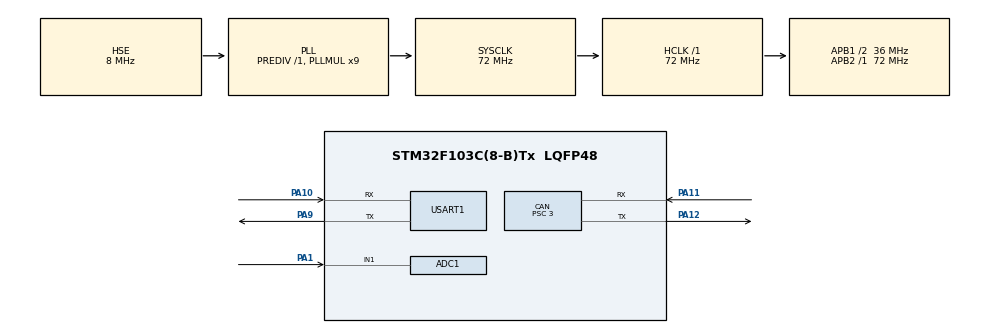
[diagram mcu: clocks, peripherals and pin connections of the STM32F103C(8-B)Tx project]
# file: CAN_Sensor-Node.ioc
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ADC1.Channel-4\#ChannelRegularConversion=ADC_CHANNEL_1
ADC1.ContinuousConvMode=ENABLE
ADC1.NbrOfConversionFlag=1
ADC1.Rank-4\#ChannelRegularConversion=1
ADC1.SamplingTime-4\#ChannelRegularConversion=ADC_SAMPLETIME_1CYCLE_5
ADC1.master=1
CAN.BS1=CAN_BS1_12TQ
CAN.BS2=CAN_BS2_2TQ
CAN.CalculateTimeBit=1250
CAN.CalculateTimeQuantum=83.33333333333334
CAN.NART=ENABLE
CAN.Prescaler=3
Mcu.Family=STM32F1
Mcu.Name=STM32F103C(8-B)Tx
Mcu.Package=LQFP48
NVIC.PriorityGroup=NVIC_PRIORITYGROUP_4
PA1.Signal=ADCx_IN1
PA10.Mode=Asynchronous
PA10.Signal=USART1_RX
PA11.Mode=Master
PA11.Signal=CAN_RX
PA12.Mode=Master
PA12.Signal=CAN_TX
PA13.Mode=Serial_Wire
PA13.Signal=SYS_JTMS-SWDIO
PA14.Mode=Serial_Wire
PA14.Signal=SYS_JTCK-SWCLK
PA9.Mode=Asynchronous
PA9.Signal=USART1_TX
PD0-OSC_IN.Mode=HSE-External-Oscillator
PD0-OSC_IN.Signal=RCC_OSC_IN
PD1-OSC_OUT.Mode=HSE-External-Oscillator
PD1-OSC_OUT.Signal=RCC_OSC_OUT
ProjectManager.HeapSize=0x200
ProjectManager.StackSize=0x400
ProjectManager.TargetToolchain=MDK-ARM V5.27
RCC.ADCPresc=RCC_ADCPCLK2_DIV6
RCC.AHBFreq_Value=72000000
RCC.APB1CLKDivider=RCC_HCLK_DIV2
RCC.APB1Freq_Value=36000000
RCC.APB1TimFreq_Value=72000000
RCC.APB2Freq_Value=72000000
RCC.APB2TimFreq_Value=72000000
RCC.HCLKFreq_Value=72000000
RCC.PLLMUL=RCC_PLL_MUL9
RCC.PLLSourceVirtual=RCC_PLLSOURCE_HSE
RCC.SYSCLKFreq_VALUE=72000000
RCC.SYSCLKSource=RCC_SYSCLKSOURCE_PLLCLK
RCC.USBFreq_Value=72000000
SH.ADCx_IN1.0=ADC1_IN1,IN1
USART1.VirtualMode=VM_ASYNC
board=custom

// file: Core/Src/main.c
/* USER CODE BEGIN Header */
/**
  ******************************************************************************
  * @file           : main.c
  * @brief          : Main program body
  ******************************************************************************
  * @attention
  *
  * <h2><center>&copy; Copyright (c) 2025 STMicroelectronics.
  * All rights reserved.</center></h2>
  *
  * This software component is licensed by ST under BSD 3-Clause license,
  * the "License"; You may not use this file except in compliance with the
  * License. You may obtain a copy of the License at:
  *                        opensource.org/licenses/BSD-3-Clause
  *
  ******************************************************************************
  */
/* USER CODE END Header */
#include "main.h"

/* USER CODE BEGIN Includes */
#include <stdio.h>
#include <string.h>
/* USER CODE END Includes */

ADC_HandleTypeDef hadc1;

CAN_HandleTypeDef hcan;

UART_HandleTypeDef huart1;

/* USER CODE BEGIN PV */
CAN_TxHeaderTypeDef TxHeader;
uint8_t TxData[8];
uint32_t TxMailbox;
/* USER CODE END PV */

void SystemClock_Config(void);
static void MX_GPIO_Init(void);
static void MX_ADC1_Init(void);
static void MX_CAN_Init(void);
static void MX_USART1_UART_Init(void);

/* USER CODE BEGIN 0 */

/* Function to convert ADC value (0-4095) to angle (0-180 degrees) */
float ADC_To_Angle(uint16_t adc_value)
{
	return (adc_value / 4095.0f) * 180.0f;
}

/* Function to transmit sensor data via CAN */
void TransmitSensorData(void)
{
	uint16_t adc_val = HAL_ADC_GetValue(&hadc1);

	// Convert ADC value to angle (0-180)
	float angle = ADC_To_Angle(adc_val);
	uint16_t angle_int = (uint16_t)angle;  // Get integer value (degrees)

	// Pack angle value into 2 bytes
	TxData[0] = (angle_int >> 8) & 0xFF;
	TxData[1] = angle_int & 0xFF;
	// The remaining bytes can hold the value 0 or additional information
	for (int i = 2; i < 8; i++) {
			TxData[i] = 0;
	}

	// Configure CAN header with ID 0x002
	TxHeader.StdId = 0x002;
	TxHeader.IDE   = CAN_ID_STD;
	TxHeader.RTR   = CAN_RTR_DATA;
	TxHeader.DLC   = 8;  // Data length 8 bytes

	// Send CAN message
	if (HAL_CAN_AddTxMessage(&hcan, &TxHeader, TxData, &TxMailbox) != HAL_OK)
	{
			 char errorMsg[] = "CAN Transmit Error\r\n";
			 HAL_UART_Transmit(&huart1, (uint8_t*)errorMsg, strlen(errorMsg), HAL_MAX_DELAY);
	}
	else
	{
			 char msg[64];
			 sprintf(msg, "Sensor Data: ADC=%d, Angle=%d\r\n", adc_val, angle_int);
			 HAL_UART_Transmit(&huart1, (uint8_t*)msg, strlen(msg), HAL_MAX_DELAY);
	}
}

// CAN filter configuration
static void CAN_FilterConfig_Sensor(void)
{
    CAN_FilterTypeDef sFilterConfig;

    sFilterConfig.FilterBank = 0;  // Select filter bank 0
    sFilterConfig.FilterMode = CAN_FILTERMODE_IDMASK;
    sFilterConfig.FilterScale = CAN_FILTERSCALE_32BIT;

    /* Mask-style configuration: when mask = 0 then all bits are 'don't care'
		=> accept all messages */
    sFilterConfig.FilterIdHigh = 0x0000;
    sFilterConfig.FilterIdLow = 0x0000;
    sFilterConfig.FilterMaskIdHigh = 0x0000;
    sFilterConfig.FilterMaskIdLow = 0x0000;

    sFilterConfig.FilterFIFOAssignment = CAN_RX_FIFO0;
    sFilterConfig.FilterActivation = ENABLE;
    sFilterConfig.SlaveStartFilterBank = 14;

    if (HAL_CAN_ConfigFilter(&hcan, &sFilterConfig) != HAL_OK)
    {
         /* Error handling if filter configuration fails */
         Error_Handler();
    }
}

/* USER CODE END 0 */

int main(void)
{

  /* MCU Configuration--------------------------------------------------------*/

  /* Reset of all peripherals, Initializes the Flash interface and the Systick. */
  HAL_Init();

  /* Configure the system clock */
  SystemClock_Config();

  /* Initialize all configured peripherals */
  MX_GPIO_Init();
  MX_ADC1_Init();
  MX_CAN_Init();
  MX_USART1_UART_Init();
  /* USER CODE BEGIN 2 */

	// Configure CAN filter for Sensor Node
	CAN_FilterConfig_Sensor();

	// Start ADC conversion
	HAL_ADC_Start(&hadc1);

	// CAN start
	HAL_CAN_Start(&hcan);

  /* USER CODE END 2 */

  /* Infinite loop */
  while (1)
  {

    /* USER CODE BEGIN 3 */

		// Use polling mode to get ADC value
		if (HAL_ADC_PollForConversion(&hadc1, 10) == HAL_OK)
		{
			TransmitSensorData();
		}
		HAL_Delay(1000);	// Send data every 1 second
  }
  /* USER CODE END 3 */
}

void SystemClock_Config(void)
{
  RCC_OscInitTypeDef RCC_OscInitStruct = {0};
  RCC_ClkInitTypeDef RCC_ClkInitStruct = {0};
  RCC_PeriphCLKInitTypeDef PeriphClkInit = {0};

  /** Initializes the RCC Oscillators according to the specified parameters
  * in the RCC_OscInitTypeDef structure.
  */
  RCC_OscInitStruct.OscillatorType = RCC_OSCILLATORTYPE_HSE;
  RCC_OscInitStruct.HSEState = RCC_HSE_ON;
  RCC_OscInitStruct.HSEPredivValue = RCC_HSE_PREDIV_DIV1;
  RCC_OscInitStruct.HSIState = RCC_HSI_ON;
  RCC_OscInitStruct.PLL.PLLState = RCC_PLL_ON;
  RCC_OscInitStruct.PLL.PLLSource = RCC_PLLSOURCE_HSE;
  RCC_OscInitStruct.PLL.PLLMUL = RCC_PLL_MUL9;
  if (HAL_RCC_OscConfig(&RCC_OscInitStruct) != HAL_OK)
  {
    Error_Handler();
  }
  /** Initializes the CPU, AHB and APB buses clocks
  */
  RCC_ClkInitStruct.ClockType = RCC_CLOCKTYPE_HCLK|RCC_CLOCKTYPE_SYSCLK
                              |RCC_CLOCKTYPE_PCLK1|RCC_CLOCKTYPE_PCLK2;
  RCC_ClkInitStruct.SYSCLKSource = RCC_SYSCLKSOURCE_PLLCLK;
  RCC_ClkInitStruct.AHBCLKDivider = RCC_SYSCLK_DIV1;
  RCC_ClkInitStruct.APB1CLKDivider = RCC_HCLK_DIV2;
  RCC_ClkInitStruct.APB2CLKDivider = RCC_HCLK_DIV1;

  if (HAL_RCC_ClockConfig(&RCC_ClkInitStruct, FLASH_LATENCY_2) != HAL_OK)
  {
    Error_Handler();
  }
  PeriphClkInit.PeriphClockSelection = RCC_PERIPHCLK_ADC;
  PeriphClkInit.AdcClockSelection = RCC_ADCPCLK2_DIV6;
  if (HAL_RCCEx_PeriphCLKConfig(&PeriphClkInit) != HAL_OK)
  {
    Error_Handler();
  }
}

static void MX_ADC1_Init(void)
{

  ADC_ChannelConfTypeDef sConfig = {0};

  /** Common config
  */
  hadc1.Instance = ADC1;
  hadc1.Init.ScanConvMode = ADC_SCAN_DISABLE;
  hadc1.Init.ContinuousConvMode = ENABLE;
  hadc1.Init.DiscontinuousConvMode = DISABLE;
  hadc1.Init.ExternalTrigConv = ADC_SOFTWARE_START;
  hadc1.Init.DataAlign = ADC_DATAALIGN_RIGHT;
  hadc1.Init.NbrOfConversion = 1;
  if (HAL_ADC_Init(&hadc1) != HAL_OK)
  {
    Error_Handler();
  }
  /** Configure Regular Channel
  */
  sConfig.Channel = ADC_CHANNEL_1;
  sConfig.Rank = ADC_REGULAR_RANK_1;
  sConfig.SamplingTime = ADC_SAMPLETIME_1CYCLE_5;
  if (HAL_ADC_ConfigChannel(&hadc1, &sConfig) != HAL_OK)
  {
    Error_Handler();
  }

}

static void MX_CAN_Init(void)
{

  hcan.Instance = CAN1;
  hcan.Init.Prescaler = 3;
  hcan.Init.Mode = CAN_MODE_NORMAL;
  hcan.Init.SyncJumpWidth = CAN_SJW_1TQ;
  hcan.Init.TimeSeg1 = CAN_BS1_12TQ;
  hcan.Init.TimeSeg2 = CAN_BS2_2TQ;
  hcan.Init.TimeTriggeredMode = DISABLE;
  hcan.Init.AutoBusOff = DISABLE;
  hcan.Init.AutoWakeUp = DISABLE;
  hcan.Init.AutoRetransmission = ENABLE;
  hcan.Init.ReceiveFifoLocked = DISABLE;
  hcan.Init.TransmitFifoPriority = DISABLE;
  if (HAL_CAN_Init(&hcan) != HAL_OK)
  {
    Error_Handler();
  }

}

static void MX_USART1_UART_Init(void)
{

  huart1.Instance = USART1;
  huart1.Init.BaudRate = 115200;
  huart1.Init.WordLength = UART_WORDLENGTH_8B;
  huart1.Init.StopBits = UART_STOPBITS_1;
  huart1.Init.Parity = UART_PARITY_NONE;
  huart1.Init.Mode = UART_MODE_TX_RX;
  huart1.Init.HwFlowCtl = UART_HWCONTROL_NONE;
  huart1.Init.OverSampling = UART_OVERSAMPLING_16;
  if (HAL_UART_Init(&huart1) != HAL_OK)
  {
    Error_Handler();
  }

}

static void MX_GPIO_Init(void)
{

  /* GPIO Ports Clock Enable */
  __HAL_RCC_GPIOD_CLK_ENABLE();
  __HAL_RCC_GPIOA_CLK_ENABLE();

}

void Error_Handler(void)
{
}

/************************ (C) COPYRIGHT STMicroelectronics *****END OF FILE****/
